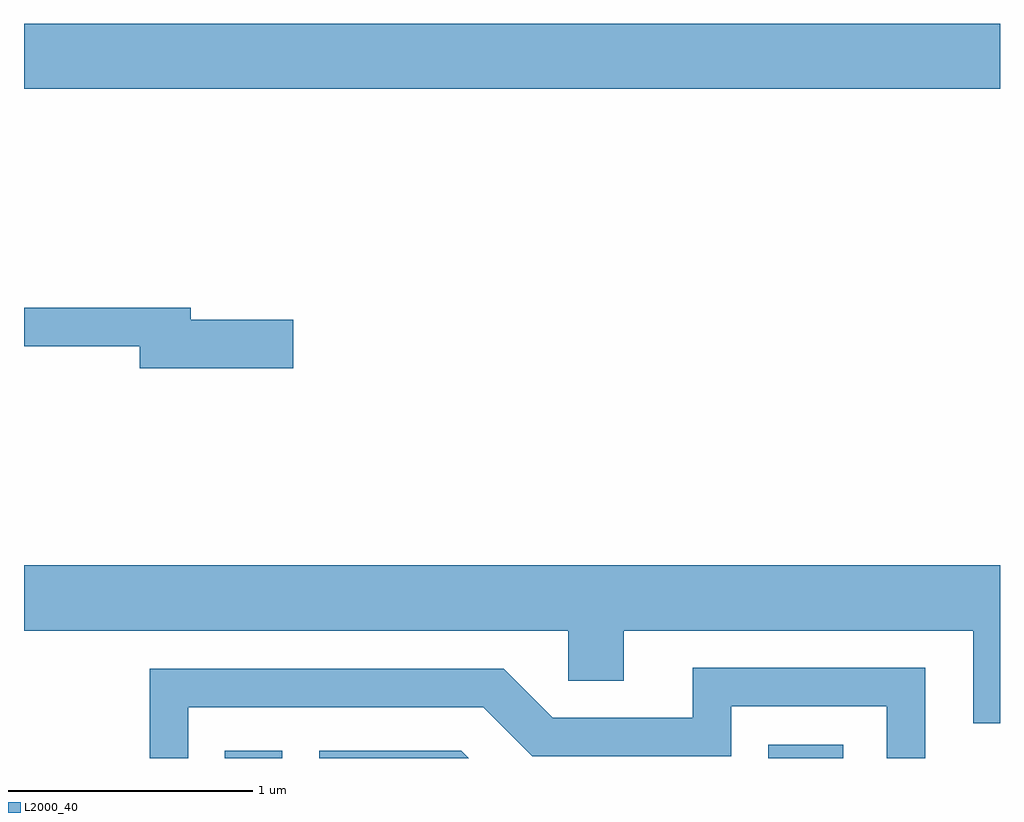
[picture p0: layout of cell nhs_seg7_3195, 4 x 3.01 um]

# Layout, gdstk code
import gdstk
lib = gdstk.Library(unit=1e-6, precision=1e-09)
def R(c, l, rs):  # rectangles x0, y0, x1, y1
    for r in rs: c.add(gdstk.rectangle(r[:2], r[2:], *l))
def P(c, l, *ps):  # polygons
    for p in ps: c.add(gdstk.Polygon(p, *l))
L2000_40 = (2000, 40)

nhs_seg7_3195 = lib.new_cell('nhs_seg7_3195')
R(nhs_seg7_3195, L2000_40, [(284.433,1698.252,284.669,1698.284), (286.661,1698.252,286.969,1698.309), (283.611,1700.996,287.611,1701.264)])
P(nhs_seg7_3195, L2000_40, [(284.714,1700.049),(284.294,1700.049),(284.294,1700.099),(283.611,1700.099),(283.611,1699.941),(284.086,1699.941),(284.086,1699.851),(284.714,1699.851)],
  [(287.611,1699.044),(283.611,1699.044),(283.611,1698.776),(285.841,1698.776),(285.841,1698.571),(286.069,1698.571),(286.069,1698.776),(287.501,1698.776),(287.501,1698.396),(287.611,1698.396)],
  [(284.284,1698.461),(285.494,1698.461),(285.694,1698.261),(286.509,1698.261),(286.509,1698.466),(287.146,1698.466),(287.146,1698.252),(287.304,1698.252),(287.304,1698.624),(286.351,1698.624),(286.351,1698.419),(285.777,1698.419),(285.577,1698.619),(284.126,1698.619),(284.126,1698.252),(284.284,1698.252)],
  [(285.402,1698.284),(284.821,1698.284),(284.821,1698.252),(285.434,1698.252)])

lib.write_gds('nhs_seg7_3195.gds')
